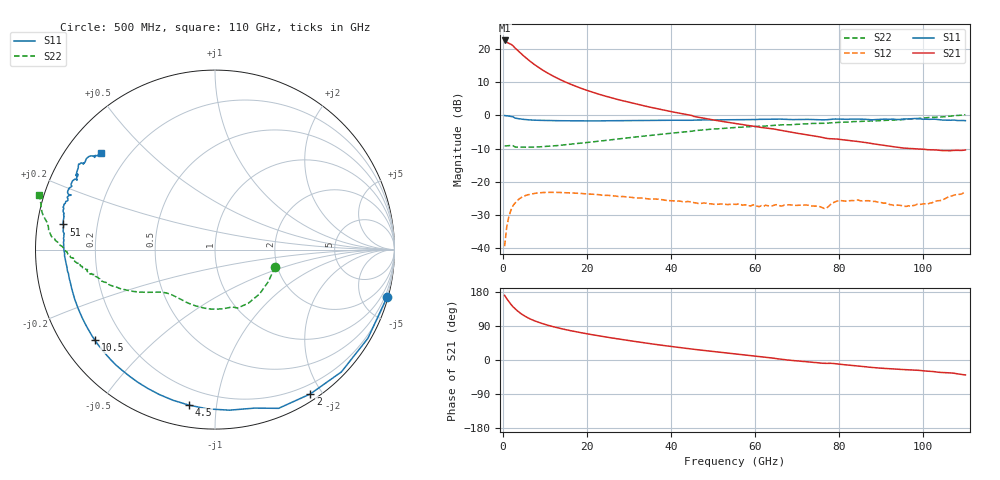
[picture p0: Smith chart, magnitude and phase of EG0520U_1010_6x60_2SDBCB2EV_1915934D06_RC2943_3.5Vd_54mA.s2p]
!File name = EG0520U_1010_6x60_2SDBCB2EV_1915934D06_RC2943_3.5Vd_54mA.s2p
!Base file name = EG0520U_1010_6x60_2SDBCB2EV_1915934D06_RC2943
!Date = 8/23/2019
!Time = 1:05 PM
!Test duration(min) = 0.15
!Test = S-Parameters
!MPTS version = 8.91.5
!State File = C:\Data\PNA\20190821205423\S-Parameters_2019-08-23.sta
!Cal File =
!ComputerName = CMPE-LAB-6
!Comments =
!Attenuation = 0
!Z0 = 50
!Input Power(dBm) = -13.00
!Device ID = EG0520U_1010_6x60_2SDBCB2EV
!Row = 29
!Column = 43
!Technology = QPHT09
!Lot/Wafer = 1915934D06
!Gate Size = 360
!Mask = EG0520
!Cal Standards = GaAs BCB
!Cal Kit = EG2306
!Job Number = 20190821205423
!Device Type = FET
!set_Vg(v) = -1.500
!set_Vd(v) = 3.500
!set_Vd(mA) = 54.000
!file_name = EG0520U_1010_6x60_2SDBCB2EV_1915934D06_RC2943_3.5Vd_54mA.s2p
!Vd(V) = 3.500
!Vd(mA) = 54.092
!Vg(V) = -0.440
!Vg(mA) = -0.001
# GHz  S  DB  R  50
!%	Freq(GHz)  s11(dB)  s11(deg)  s21(dB)  s21(deg)  s12(dB)  s12(deg)  s22(dB)  s22(deg)
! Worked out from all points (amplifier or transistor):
!   220 points, 500 MHz to 110 GHz, reference 50 ohm
!   highest |S21| = 22.6 dB at 500 MHz (marker M1)
!   |S21| within 3 dB of that: start of sweep to 3.593 GHz
!   unconditionally stable (mu >= 1): 31.09 GHz to 96.69 GHz
!   at 18.5 GHz: K = 0.58, MSG = 15.9 dB, |S12| = -23.5 dB
!   at 55.5 GHz: K = 1.62, MAG = 7.6 dB, |S12| = -26.8 dB
!   at 110 GHz: K = -1.22, MSG = 6.3 dB, |S12| = -23.1 dB
!   S11 on the Smith chart (normalised r, x): 500 MHz: 0.14, -7.47; 2 GHz: 0.08, -1.85; 4.5 GHz: 0.11, -0.84; 10.5 GHz: 0.10, -0.33; 51 GHz: 0.08, +0.08; 110 GHz: 0.10, +0.36
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0.5  -0.04 -15.2  22.61 170.7  -39.44 81.1  -9.18 -16.2
1  -0.13 -30.1  22.13 162.0  -33.69 73.2  -9.20 -30.8
1.5  -0.18 -44.0  21.74 154.3  -30.56 65.7  -9.11 -44.7
2  -0.32 -56.6  21.48 146.9  -28.58 58.8  -9.07 -58.2
2.5  -0.42 -68.2  21.00 140.4  -27.23 52.9  -9.15 -68.9
3  -0.81 -75.9  20.30 135.2  -26.43 48.5  -9.54 -73.3
3.5  -0.93 -84.8  19.72 130.1  -25.70 44.1  -9.56 -81.4
4.5  -1.12 -99.5  18.56 121.5  -24.74 36.7  -9.58 -94.8
5.5  -1.26 -111.0  17.44 114.5  -24.16 31.1  -9.61 -104.8
7  -1.40 -124.0  15.89 106.2  -23.66 24.7  -9.55 -115.5
8.5  -1.46 -133.4  14.53 99.8  -23.37 20.1  -9.50 -122.3
10.5  -1.53 -143.0  12.93 92.6  -23.23 15.2  -9.35 -129.2
14  -1.61 -154.3  10.62 82.6  -23.26 9.6  -8.97 -136.2
19  -1.65 -164.2  8.03 71.3  -23.57 4.8  -8.32 -141.8
26.5  -1.61 -173.3  5.08 57.3  -24.27 2.0  -7.23 -146.9
37  -1.48 178.6  1.95 40.2  -25.27 2.6  -5.77 -153.2
51  -1.34 170.6  -1.56 21.4  -26.80 9.4  -4.08 -162.7
55.5  -1.30 168.2  -2.46 16.0  -26.85 9.0  -3.62 -164.8
73.5  -1.25 159.7  -6.09 -5.8  -27.32 10.0  -2.43 -173.2
92  -1.18 151.2  -9.27 -23.3  -26.88 -5.2  -1.43 179.1
101  -1.17 146.5  -10.34 -29.5  -26.75 0.7  -0.68 174.2
110  -1.58 139.8  -10.41 -39.4  -23.09 -11.8  0.22 162.8
